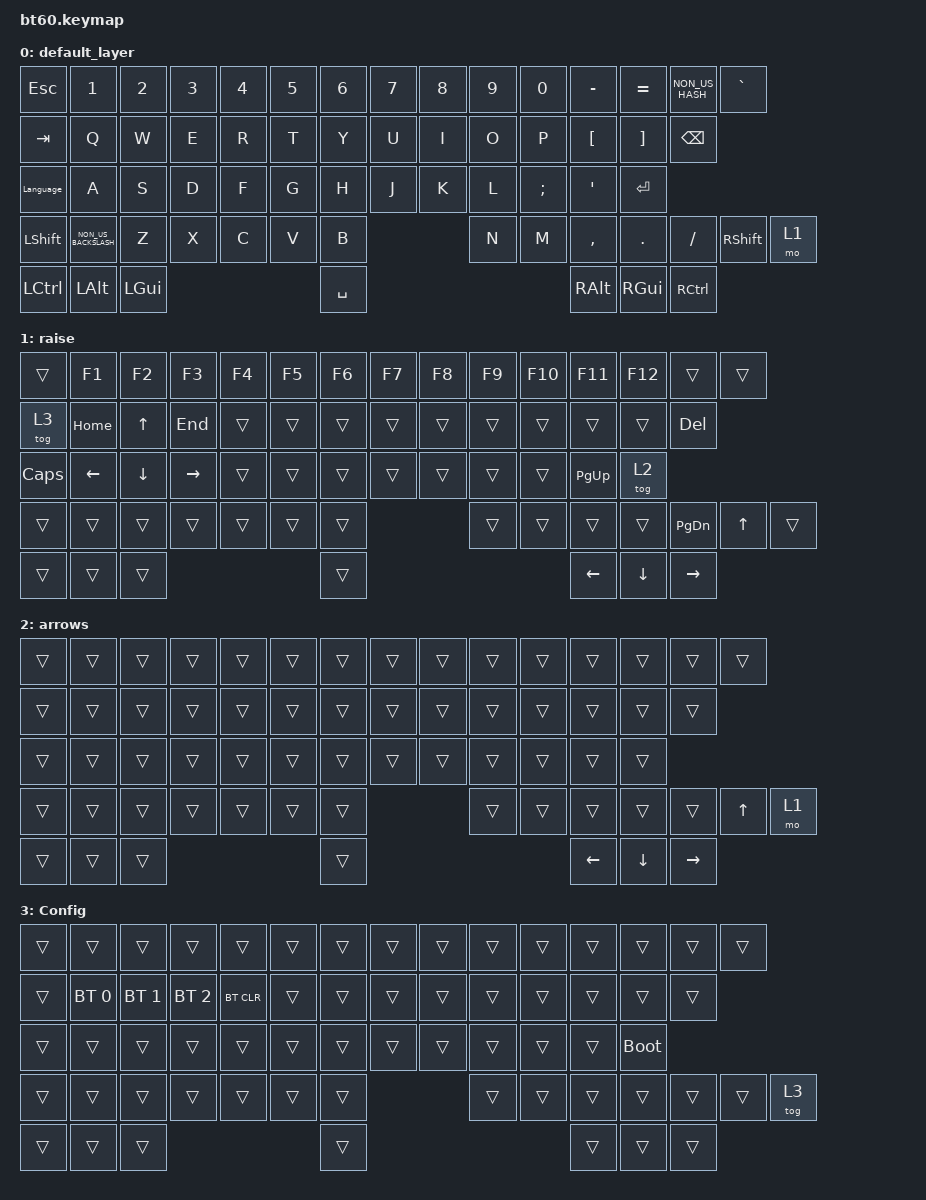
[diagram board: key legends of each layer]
#include <behaviors.dtsi>
#include <dt-bindings/zmk/keys.h>
#include <dt-bindings/zmk/bt.h>

/ {
    macros {
        Sleep: Sleep {
            compatible = "zmk,behavior-macro";
            label = "Sleep";
            #binding-cells = <0>;
            bindings =
                <&macro_press>,
                <&kp RCMD>,
                <&macro_tap>,
                <&kp F12>,
                <&macro_release>,
                <&kp RCMD>;

            wait-ms = <20>;
            tap-ms = <50>;
        };
        Language: Language {
            compatible = "zmk,behavior-macro";
            label = "Language";
            #binding-cells = <0>;
            bindings =
                <&macro_press>,
                <&kp LALT &kp LSHFT>,
                <&macro_tap>,
                <&kp SPACE>,
                <&macro_release>,
                <&kp LALT &kp LSHFT>;

            wait-ms = <20>;
            tap-ms = <50>;
        };
        alttabmacro: alttabmacro {
            compatible = "zmk,behavior-macro";
            label = "new_macro";
            #binding-cells = <0>;
            bindings =
                <&macro_press>,
                <&kp LALT>,
                <&macro_tap>,
                <&kp TAB>,
                <&macro_release>,
                <&kp LALT>;

            tap-ms = <50>;
            wait-ms = <20>;
        };
    };

    combos {
        compatible = "zmk,combos";

        LEFTESC {
            bindings = <&kp ESC>;
            key-positions = <0 1>;
            layers = <0 1>;
        };
    };

    keymap {
        compatible = "zmk,keymap";

        default_layer {
            // ------------------------------------------------------------------------------------------
            // | ESC |  1  |  2  |  3  |  4  |  5  |  6  |  7  |  8  |  9  |  0  |  -  |  =  |  \ |  `  |
            // | TAB  |  Q  |  W  |  E  |  R  |  T  |  Y  |  U  |  I  |  O  |  P  |  [  |  ] |   BCKSP |
            // | CAPS  |  A  |  S  |  D  |  F  |  G  |  H  |  J  |  K  |  L  |  ;  |  '  |    ENTER    |
            // |  SHIFT|  \ |  Z  |  X  |  C  |  V  |  B  |  N  |  M  |  ,  |  .  |  /  | SHIFT | Fn        |
            // |  CTL  |  ALT  |  CMND  |             SPACE                  |  alt | cmd | ctrl   |
            // ------------------------------------------------------------------------------------------

            bindings = <
  &kp ESC                &kp N1    &kp N2  &kp N3  &kp N4  &kp N5     &kp N6  &kp N7  &kp N8     &kp N9    &kp N0  &kp MINUS  &kp EQUAL  &kp NON_US_HASH  &kp GRAVE
  &kp TAB                 &kp Q     &kp W   &kp E   &kp R   &kp T      &kp Y   &kp U   &kp I      &kp O     &kp P   &kp LBKT   &kp RBKT         &kp BSPC
&Language                 &kp A     &kp S   &kp D   &kp F   &kp G      &kp H   &kp J   &kp K      &kp L  &kp SEMI    &kp SQT    &kp RET
&kp LSHFT  &kp NON_US_BACKSLASH     &kp Z   &kp X   &kp C   &kp V      &kp B   &kp N   &kp M  &kp COMMA   &kp DOT   &kp FSLH  &kp RSHFT                              &mo 1
&kp LCTRL              &kp LALT  &kp LGUI                          &kp SPACE                                        &kp RALT   &kp RGUI        &kp RCTRL
            >;

            //sensor-bindings = <&inc_dec_kp C_VOL_UP C_VOL_DN>;
        };

        raise {
            bindings = <
  &trans    &kp F1    &kp F2     &kp F3  &kp F4  &kp F5  &kp F6  &kp F7  &kp F8  &kp F9  &kp F10    &kp F11   &kp F12     &trans  &trans
  &tog 3  &kp HOME    &kp UP    &kp END  &trans  &trans  &trans  &trans  &trans  &trans   &trans     &trans    &trans    &kp DEL
&kp CAPS  &kp LEFT  &kp DOWN  &kp RIGHT  &trans  &trans  &trans  &trans  &trans  &trans   &trans  &kp PG_UP    &tog 2
  &trans    &trans    &trans     &trans  &trans  &trans  &trans  &trans  &trans  &trans   &trans  &kp PG_DN    &kp UP                     &trans
  &trans    &trans    &trans                             &trans                                    &kp LEFT  &kp DOWN  &kp RIGHT
            >;

            //sensor-bindings = <&inc_dec_kp C_VOL_UP C_VOL_DN>;
        };

        arrows {
            bindings = <
&trans  &trans  &trans  &trans  &trans  &trans  &trans  &trans  &trans  &trans  &trans    &trans    &trans     &trans  &trans
&trans  &trans  &trans  &trans  &trans  &trans  &trans  &trans  &trans  &trans  &trans    &trans    &trans     &trans
&trans  &trans  &trans  &trans  &trans  &trans  &trans  &trans  &trans  &trans  &trans    &trans    &trans
&trans  &trans  &trans  &trans  &trans  &trans  &trans  &trans  &trans  &trans  &trans    &trans    &kp UP                     &mo 1
&trans  &trans  &trans                          &trans                                  &kp LEFT  &kp DOWN  &kp RIGHT
            >;
        };

        Config {
            bindings = <
&trans        &trans        &trans        &trans      &trans  &trans  &trans  &trans  &trans  &trans  &trans  &trans       &trans  &trans  &trans
&trans  &bt BT_SEL 0  &bt BT_SEL 1  &bt BT_SEL 2  &bt BT_CLR  &trans  &trans  &trans  &trans  &trans  &trans  &trans       &trans  &trans
&trans        &trans        &trans        &trans      &trans  &trans  &trans  &trans  &trans  &trans  &trans  &trans  &bootloader
&trans        &trans        &trans        &trans      &trans  &trans  &trans  &trans  &trans  &trans  &trans  &trans       &trans                  &tog 3
&trans        &trans        &trans                                    &trans                                  &trans       &trans  &trans
            >;
        };
    };
};
